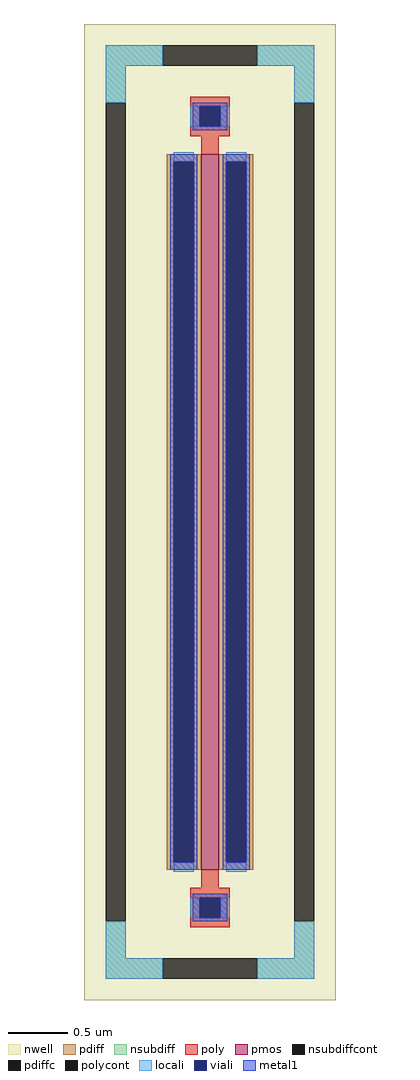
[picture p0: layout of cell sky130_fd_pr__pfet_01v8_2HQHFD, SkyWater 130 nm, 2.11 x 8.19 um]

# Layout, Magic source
magic
tech sky130A
magscale 1 2
<< nwell >>
rect -211 -819 211 819
<< pmos >>
rect -15 -600 15 600
<< pdiff >>
rect -73 588 -15 600
rect -73 -588 -61 588
rect -27 -588 -15 588
rect -73 -600 -15 -588
rect 15 588 73 600
rect 15 -588 27 588
rect 61 -588 73 588
rect 15 -600 73 -588
<< pdiffc >>
rect -61 -588 -27 588
rect 27 -588 61 588
<< nsubdiff >>
rect -175 749 -79 783
rect 79 749 175 783
rect -175 687 -141 749
rect 141 687 175 749
rect -175 -749 -141 -687
rect 141 -749 175 -687
rect -175 -783 -79 -749
rect 79 -783 175 -749
<< nsubdiffcont >>
rect -79 749 79 783
rect -175 -687 -141 687
rect 141 -687 175 687
rect -79 -783 79 -749
<< poly >>
rect -33 681 33 697
rect -33 647 -17 681
rect 17 647 33 681
rect -33 631 33 647
rect -15 600 15 631
rect -15 -631 15 -600
rect -33 -647 33 -631
rect -33 -681 -17 -647
rect 17 -681 33 -647
rect -33 -697 33 -681
<< polycont >>
rect -17 647 17 681
rect -17 -681 17 -647
<< locali >>
rect -175 749 -79 783
rect 79 749 175 783
rect -175 687 -141 749
rect 141 687 175 749
rect -33 647 -17 681
rect 17 647 33 681
rect -61 588 -27 604
rect -61 -604 -27 -588
rect 27 588 61 604
rect 27 -604 61 -588
rect -33 -681 -17 -647
rect 17 -681 33 -647
rect -175 -749 -141 -687
rect 141 -749 175 -687
rect -175 -783 -79 -749
rect 79 -783 175 -749
<< viali >>
rect -17 647 17 681
rect -61 -588 -27 588
rect 27 -588 61 588
rect -17 -681 17 -647
<< metal1 >>
rect -29 681 29 687
rect -29 647 -17 681
rect 17 647 29 681
rect -29 641 29 647
rect -67 588 -21 600
rect -67 -588 -61 588
rect -27 -588 -21 588
rect -67 -600 -21 -588
rect 21 588 67 600
rect 21 -588 27 588
rect 61 -588 67 588
rect 21 -600 67 -588
rect -29 -647 29 -641
rect -29 -681 -17 -647
rect 17 -681 29 -647
rect -29 -687 29 -681
<< properties >>
string FIXED_BBOX -158 -766 158 766
string gencell sky130_fd_pr__pfet_01v8
string library sky130
string parameters w 6.0 l 0.15 m 1 nf 1 diffcov 100 polycov 100 guard 1 glc 1 grc 1 gtc 1 gbc 1 tbcov 100 rlcov 100 topc 1 botc 1 poverlap 0 doverlap 1 lmin 0.15 wmin 0.42 compatible {sky130_fd_pr__pfet_01v8  sky130_fd_pr__pfet_01v8_lvt sky130_fd_pr__pfet_01v8_hvt  sky130_fd_pr__pfet_g5v0d10v5} full_metal 1 viasrc 100 viadrn 100 viagate 100 viagb 0 viagr 0 viagl 0 viagt 0
<< end >>
